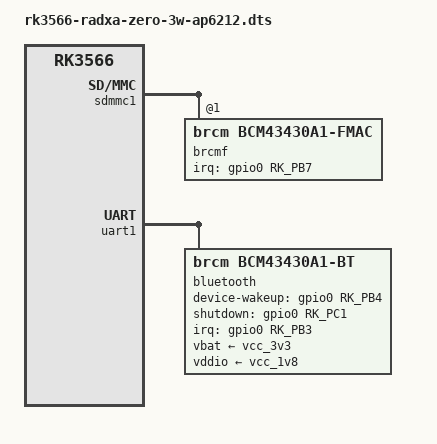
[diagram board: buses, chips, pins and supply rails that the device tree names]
// SPDX-License-Identifier: (GPL-2.0+ OR MIT)

#include "rk3566-radxa-zero-3w.dts"

&sdmmc1 {
	#address-cells = <1>;
	#size-cells = <0>;

	brcmf: wifi@1 {
		compatible = "brcm,bcm43430a1-fmac", "brcm,bcm4329-fmac";
		reg = <1>;
		interrupt-parent = <&gpio0>;
		interrupts = <RK_PB7 IRQ_TYPE_LEVEL_HIGH>;
		interrupt-names = "host-wake";
		pinctrl-names = "default";
		pinctrl-0 = <&wifi_wake_host_h>;
	};
};

&uart1 {
	bluetooth {
		compatible = "brcm,bcm43430a1-bt";
		clocks = <&rk817 1>;
		clock-names = "lpo";
		interrupt-parent = <&gpio0>;
		interrupts = <RK_PB3 IRQ_TYPE_LEVEL_HIGH>;
		interrupt-names = "host-wakeup";
		device-wakeup-gpios = <&gpio0 RK_PB4 GPIO_ACTIVE_HIGH>;
		shutdown-gpios = <&gpio0 RK_PC1 GPIO_ACTIVE_HIGH>;
		pinctrl-names = "default";
		pinctrl-0 = <&bt_reg_on_h &bt_wake_host_h &host_wake_bt_h>;
		vbat-supply = <&vcc_3v3>;
		vddio-supply = <&vcc_1v8>;
	};
};
